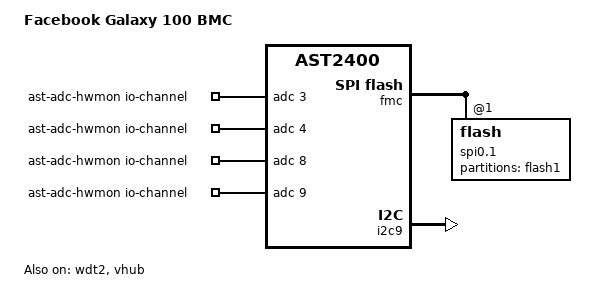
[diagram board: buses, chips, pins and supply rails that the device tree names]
// SPDX-License-Identifier: GPL-2.0+
// Copyright (c) 2020 Facebook Inc.
/dts-v1/;

#include "ast2400-facebook-netbmc-common.dtsi"

/ {
	model = "Facebook Galaxy 100 BMC";
	compatible = "facebook,galaxy100-bmc", "aspeed,ast2400";

	chosen {
		stdout-path = &uart5;
		bootargs = "console=ttyS0,9600n8 root=/dev/ram rw";
	};

	ast-adc-hwmon {
		compatible = "iio-hwmon";
		io-channels = <&adc 3>, <&adc 4>, <&adc 8>, <&adc 9>;
	};
};

&wdt2 {
	status = "okay";
	aspeed,reset-type = "system";
};

&fmc {
	flash@1 {
		status = "okay";
		m25p,fast-read;
		label = "spi0.1";

		partitions {
			compatible = "fixed-partitions";
			#address-cells = <1>;
			#size-cells = <1>;

			flash1@0 {
				reg = <0x0 0x2000000>;
				label = "flash1";
			};
		};
	};
};


&i2c9 {
	status = "okay";
};

&vhub {
	status = "okay";
};
